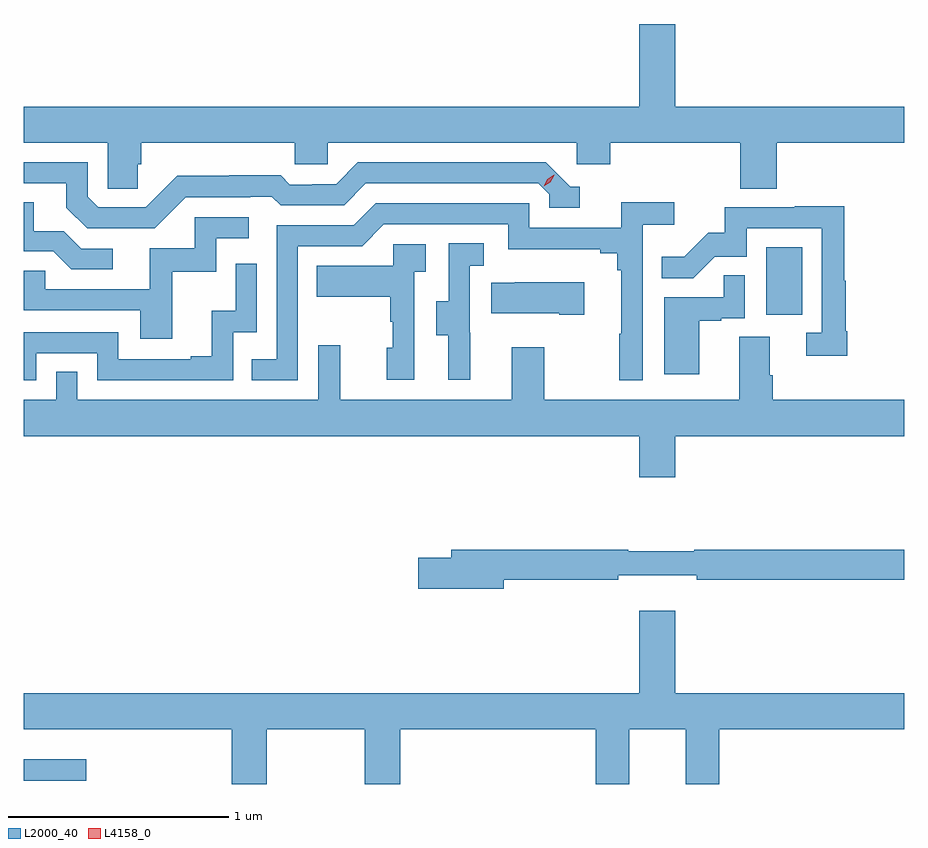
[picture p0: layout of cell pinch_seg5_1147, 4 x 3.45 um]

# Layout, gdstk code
import gdstk
lib = gdstk.Library(unit=1e-6, precision=1e-09)
def R(c, l, rs):  # rectangles x0, y0, x1, y1
    for r in rs: c.add(gdstk.rectangle(r[:2], r[2:], *l))
def P(c, l, *ps):  # polygons
    for p in ps: c.add(gdstk.Polygon(p, *l))
L2000_40 = (2000, 40)
L4158_0 = (4158, 0)

pinch_seg5_1147 = lib.new_cell('pinch_seg5_1147')
R(pinch_seg5_1147, L2000_40, [(833.54,844.539,833.824,844.636), (836.912,846.654,837.076,846.961)])
P(pinch_seg5_1147, L2000_40, [(834.059,847.338),(834.074,847.338),(834.074,847.436),(834.771,847.436),(834.771,847.338),(834.921,847.338),(834.921,847.436),(836.052,847.436),(836.052,847.338),(836.204,847.338),(836.204,847.436),(836.795,847.436),(836.795,847.228),(836.96,847.228),(836.96,847.436),(837.54,847.436),(837.54,847.6),(836.5,847.6),(836.5,847.975),(836.336,847.975),(836.336,847.6),(833.54,847.6),(833.54,847.436),(833.922,847.436),(833.922,847.228),(834.059,847.228)],
  [(834.276,847.188),(834.569,847.188),(834.569,847.191),(834.668,847.191),(834.707,847.152),(834.996,847.152),(835.095,847.251),(835.878,847.251),(835.926,847.203),(835.926,847.14),(836.065,847.14),(836.065,847.236),(836.022,847.236),(835.911,847.347),(835.058,847.347),(834.959,847.248),(834.852,847.248),(834.852,847.245),(834.749,847.245),(834.707,847.288),(834.474,847.288),(834.474,847.285),(834.238,847.285),(834.096,847.143),(833.88,847.143),(833.832,847.191),(833.832,847.347),(833.54,847.347),(833.54,847.251),(833.735,847.251),(833.735,847.141),(833.829,847.047),(834.135,847.047)],
  [(833.944,846.954),(833.802,846.954),(833.722,847.034),(833.587,847.034),(833.587,847.166),(833.54,847.166),(833.54,846.942),(833.675,846.942),(833.756,846.861),(833.944,846.861)],
  [(834.786,846.966),(835.077,846.966),(835.176,847.065),(835.74,847.065),(835.74,846.953),(836.159,846.953),(836.159,846.934),(836.236,846.934),(836.236,846.857),(836.255,846.857),(836.255,846.569),(836.244,846.569),(836.244,846.357),(836.352,846.357),(836.352,847.064),(836.494,847.064),(836.494,847.166),(836.255,847.166),(836.255,847.05),(835.836,847.05),(835.836,847.161),(835.139,847.161),(835.04,847.062),(834.69,847.062),(834.69,846.453),(834.577,846.453),(834.577,846.357),(834.786,846.357)],
  [(837.281,846.58),(837.274,846.58),(837.274,846.81),(837.266,846.81),(837.266,847.148),(837.043,847.148),(837.043,847.143),(836.725,847.143),(836.725,847.026),(836.648,847.026),(836.541,846.919),(836.437,846.919),(836.437,846.82),(836.581,846.82),(836.679,846.918),(836.823,846.918),(836.823,847.047),(837.165,847.047),(837.165,846.573),(837.093,846.573),(837.093,846.468),(837.281,846.468)],
  [(834.215,846.849),(834.414,846.849),(834.414,847.002),(834.562,847.002),(834.562,847.098),(834.318,847.098),(834.318,846.957),(834.113,846.957),(834.113,846.771),(833.639,846.771),(833.639,846.855),(833.54,846.855),(833.54,846.675),(834.071,846.675),(834.071,846.546),(834.215,846.546)],
  [(835.568,846.573),(835.566,846.573),(835.566,846.877),(835.63,846.877),(835.63,846.98),(835.47,846.98),(835.47,846.717),(835.415,846.717),(835.415,846.562),(835.469,846.562),(835.469,846.36),(835.568,846.36)],
  [(835.314,846.851),(835.366,846.851),(835.366,846.975),(835.218,846.975),(835.218,846.877),(834.871,846.877),(834.871,846.737),(835.206,846.737),(835.206,846.623),(835.216,846.623),(835.216,846.504),(835.19,846.504),(835.19,846.36),(835.314,846.36)],
  [(833.598,846.48),(833.874,846.48),(833.874,846.357),(834.492,846.357),(834.492,846.576),(834.6,846.576),(834.6,846.886),(834.504,846.886),(834.504,846.674),(834.395,846.674),(834.395,846.466),(834.299,846.466),(834.299,846.453),(833.97,846.453),(833.97,846.576),(833.54,846.576),(833.54,846.357),(833.598,846.357)],
  [(836.608,846.627),(836.708,846.627),(836.708,846.639),(836.814,846.639),(836.814,846.833),(836.719,846.833),(836.719,846.735),(836.45,846.735),(836.45,846.384),(836.608,846.384)],
  [(836.086,846.802),(835.771,846.802),(835.771,846.799),(835.663,846.799),(835.663,846.662),(835.973,846.662),(835.973,846.655),(836.086,846.655)],
  [(836.5,846.104),(837.54,846.104),(837.54,846.268),(836.942,846.268),(836.942,846.38),(836.929,846.38),(836.929,846.554),(836.789,846.554),(836.789,846.268),(835.905,846.268),(835.905,846.508),(835.757,846.508),(835.757,846.268),(834.977,846.268),(834.977,846.517),(834.879,846.517),(834.879,846.268),(833.784,846.268),(833.784,846.395),(833.688,846.395),(833.688,846.268),(833.54,846.268),(833.54,846.104),(836.336,846.104),(836.336,845.916),(836.5,845.916)],
  [(835.72,845.452),(836.24,845.452),(836.24,845.471),(836.596,845.471),(836.596,845.452),(837.54,845.452),(837.54,845.588),(836.585,845.588),(836.585,845.581),(836.285,845.581),(836.285,845.588),(835.481,845.588),(835.481,845.552),(835.332,845.552),(835.332,845.41),(835.72,845.41)],
  [(834.645,844.772),(835.09,844.772),(835.09,844.524),(835.25,844.524),(835.25,844.772),(836.138,844.772),(836.138,844.524),(836.29,844.524),(836.29,844.772),(836.546,844.772),(836.546,844.524),(836.699,844.524),(836.699,844.772),(837.54,844.772),(837.54,844.936),(836.5,844.936),(836.5,845.311),(836.336,845.311),(836.336,844.936),(833.54,844.936),(833.54,844.772),(834.485,844.772),(834.485,844.524),(834.645,844.524)])
P(pinch_seg5_1147, L4158_0, [(835.901,847.238),(835.901,847.238),(835.917,847.271),(835.949,847.29),(835.949,847.29),(835.949,847.289),(835.932,847.257),(835.901,847.238)])

lib.write_gds('pinch_seg5_1147.gds')
